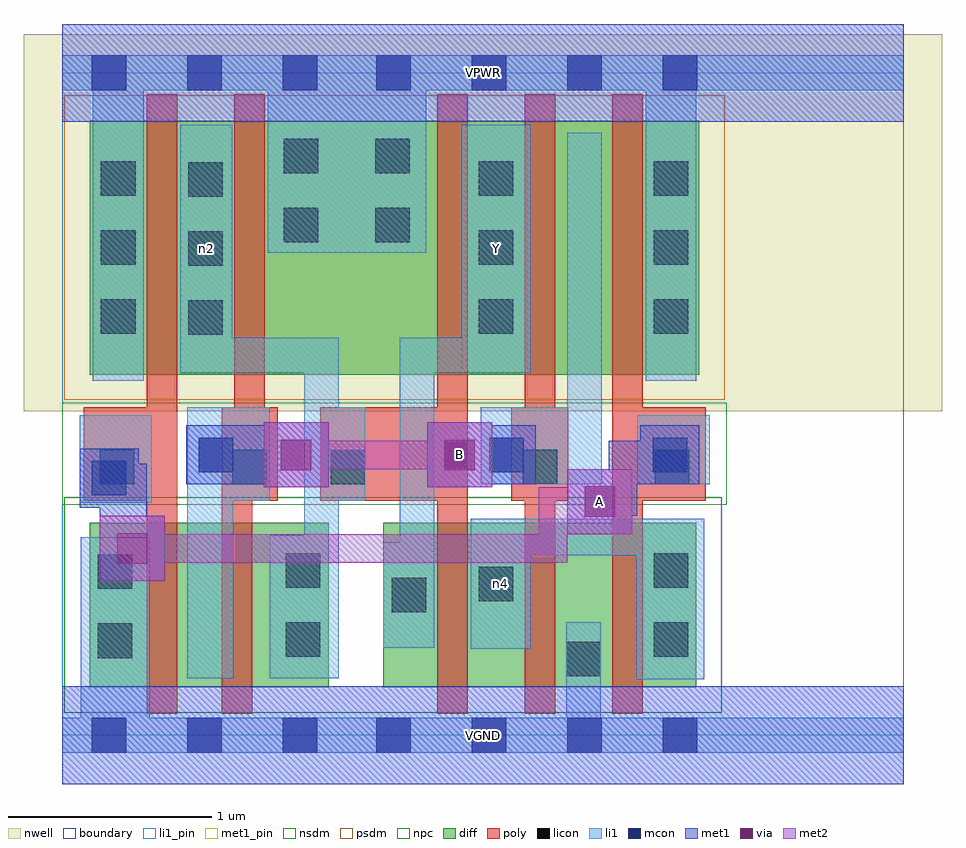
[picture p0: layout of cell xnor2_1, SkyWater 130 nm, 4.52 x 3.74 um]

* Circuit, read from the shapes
.subckt xnor2_1 A B VGND VPWR Y n2 n4
XM1 n1 A VGND VSUBS sky130_fd_pr__nfet_01v8 w=0.81 l=0.15
XM2 n2 B n1 VSUBS sky130_fd_pr__nfet_01v8 w=0.81 l=0.15
XM3 n4 n2 Y VSUBS sky130_fd_pr__nfet_01v8 w=0.81 l=0.15
XM4 VGND B n4 VSUBS sky130_fd_pr__nfet_01v8 w=0.81 l=0.15
XM5 n4 A VGND VSUBS sky130_fd_pr__nfet_01v8 w=0.81 l=0.15
XM6 n2 A VPWR n3 sky130_fd_pr__pfet_01v8 w=1.25 l=0.15
XM7 VPWR B n2 n3 sky130_fd_pr__pfet_01v8 w=1.25 l=0.15
XM8 Y n2 VPWR n3 sky130_fd_pr__pfet_01v8 w=1.25 l=0.15
XM9 n5 B Y n3 sky130_fd_pr__pfet_01v8 w=1.25 l=0.15
XM10 VPWR A n5 n3 sky130_fd_pr__pfet_01v8 w=1.25 l=0.15
.ends

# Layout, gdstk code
import gdstk
lib = gdstk.Library(unit=1e-6, precision=1e-09)
def R(c, l, rs):  # rectangles x0, y0, x1, y1
    for r in rs: c.add(gdstk.rectangle(r[:2], r[2:], *l))
def A(c, l, x, y, w, h, nx, ny, dx, dy):  # array of equal rectangles
    R(c, l, [(x+i*dx, y+j*dy, x+i*dx+w, y+j*dy+h) for i in range(nx) for j in range(ny)])
nwell = (64, 20)
diff = (65, 20)
poly = (66, 20)
licon = (66, 44)
li1_pin = (67, 16)
li1 = (67, 20)
mcon = (67, 44)
met1_pin = (68, 16)
met1 = (68, 20)
via = (68, 44)
met2 = (69, 20)
nsdm = (93, 44)
psdm = (94, 20)
npc = (95, 20)
boundary = (235, 4)

xnor2_1 = lib.new_cell('xnor2_1')
R(xnor2_1, nwell, [(-0.19,1.595,4.33,3.45), (0,1.595,4.14,3.45)])
R(xnor2_1, diff, [(0.135,0.235,1.31,1.045), (1.58,0.235,3.12,1.045), (0.135,1.775,3.135,3.025)])
A(xnor2_1, poly, 1.845, 0.105, 0.15, 3.05, 3, 1, 0.43, 0)
R(xnor2_1, poly, [(0.415,0.105,0.565,3.155), (0.785,0.105,0.935,1.615), (0.105,1.155,0.565,1.615), (0.785,1.155,1.06,1.615), (0.845,1.155,0.995,3.155), (1.27,1.155,1.995,1.615), (2.21,1.155,2.49,1.615), (2.705,1.155,3.165,1.615)])
A(xnor2_1, licon, 0.62, 1.97, 0.17, 0.17, 1, 3, 0, 0.34)
A(xnor2_1, licon, 0.19, 1.975, 0.17, 0.17, 1, 3, 0, 0.34)
A(xnor2_1, licon, 2.05, 1.975, 0.17, 0.17, 1, 3, 0, 0.34)
A(xnor2_1, licon, 2.91, 1.975, 0.17, 0.17, 1, 3, 0, 0.34)
R(xnor2_1, licon, [(2.48,0.29,2.65,0.46), (0.175,0.38,0.345,0.55), (1.1,0.385,1.27,0.555), (2.91,0.385,3.08,0.555), (1.62,0.605,1.79,0.775), (2.05,0.66,2.22,0.83), (0.175,0.72,0.345,0.89), (1.1,0.725,1.27,0.895), (2.91,0.725,3.08,0.895), (0.185,1.235,0.355,1.405), (0.835,1.235,1.005,1.405), (1.32,1.235,1.49,1.405), (2.265,1.235,2.435,1.405), (2.915,1.235,3.085,1.405), (1.09,2.425,1.26,2.595), (1.54,2.425,1.71,2.595), (1.09,2.765,1.26,2.935), (1.54,2.765,1.71,2.935)])
R(xnor2_1, li1_pin, [(1.965,1.785,2.305,3.005)])
R(xnor2_1, li1, [(0,-0.085,4.14,0.085), (0.09,-0.085,0.43,0.975), (2.48,-0.085,2.65,0.555), (2.825,0.275,3.16,1.065), (0.615,0.28,0.84,1.615), (1.02,0.28,1.36,0.985), (1.19,0.28,1.36,1.955), (2.01,0.425,2.305,1.065), (1.58,0.43,1.83,0.95), (1.66,0.43,1.83,1.955), (2.01,0.885,3.16,1.065), (0.085,1.145,0.44,1.575), (0.615,1.155,1.02,1.615), (1.19,1.155,1.49,1.615), (2.06,1.235,2.655,1.615), (2.485,1.235,2.655,2.965), (2.83,1.235,3.185,1.575), (0.15,1.745,0.4,3.345), (2.87,1.745,3.12,3.345), (0.58,1.785,0.835,3.005), (0.58,1.785,1.36,1.955), (1.66,1.785,2.305,1.955), (1.965,1.785,2.305,3.005), (1.01,2.375,1.79,3.345), (0,3.175,4.14,3.345)])
A(xnor2_1, mcon, 0.145, -0.085, 0.17, 0.17, 3, 2, 0.47, 3.26)
A(xnor2_1, mcon, 1.545, -0.085, 0.17, 0.17, 4, 2, 0.47, 3.26)
R(xnor2_1, mcon, [(0.145,1.18,0.315,1.35), (0.67,1.295,0.84,1.465), (2.1,1.295,2.27,1.465), (2.905,1.295,3.075,1.465)])
R(xnor2_1, met1_pin, [(0,-0.24,4.14,0.24), (2.485,0.99,2.805,1.31), (1.795,1.22,2.115,1.54), (0,3.02,4.14,3.5)])
R(xnor2_1, met1, [(0,-0.24,4.14,0.24), (0.185,0.76,0.505,1.08), (0.275,0.85,0.415,1.335), (2.485,0.99,2.805,1.31), (0.185,1.08,0.375,1.12), (0.185,1.08,0.415,1.195), (2.575,1.08,2.83,1.22), (2.69,1.08,2.83,1.45), (0.085,1.12,0.375,1.41), (0.16,1.195,0.415,1.335), (0.99,1.22,1.31,1.54), (1.795,1.22,2.115,1.54), (0.61,1.235,0.9,1.525), (0.9,1.235,0.99,1.525), (2.04,1.235,2.33,1.525), (2.805,1.235,2.845,1.31), (2.83,1.235,2.845,1.45), (2.845,1.235,3.135,1.525), (0.685,1.31,0.99,1.45), (0.85,1.31,1.22,1.45), (1.885,1.31,2.255,1.45), (2.69,1.31,3.06,1.45), (0,3.02,4.14,3.5)])
R(xnor2_1, via, [(0.27,0.845,0.42,0.995), (2.57,1.075,2.72,1.225), (1.075,1.305,1.225,1.455), (1.88,1.305,2.03,1.455)])
R(xnor2_1, met2, [(0.185,0.76,0.505,1.08), (0.275,0.85,2.485,0.99), (2.345,0.85,2.485,1.22), (2.485,0.99,2.805,1.31), (2.345,1.08,2.715,1.22), (0.99,1.22,1.31,1.54), (1.795,1.22,2.115,1.54), (1.08,1.31,2.025,1.45)])
R(xnor2_1, nsdm, [(0.01,0.11,3.245,1.17)])
R(xnor2_1, psdm, [(0.01,1.65,3.26,3.15)])
R(xnor2_1, npc, [(0,1.135,3.27,1.635)])
R(xnor2_1, boundary, [(0,0,4.14,3.26)])
xnor2_1.add(gdstk.Label('Y', (2.135,2.395), layer=67, texttype=5))
xnor2_1.add(gdstk.Label('n4', (2.157,0.745), layer=67, texttype=5))
xnor2_1.add(gdstk.Label('n2', (0.707,2.395), layer=67, texttype=5))
xnor2_1.add(gdstk.Label('B', (1.955,1.38), layer=68, texttype=5))
xnor2_1.add(gdstk.Label('A', (2.645,1.15), layer=68, texttype=5))
xnor2_1.add(gdstk.Label('VPWR', (2.07,3.26), layer=68, texttype=5))
xnor2_1.add(gdstk.Label('VGND', (2.07,0), layer=68, texttype=5))
xnor2_1.add(gdstk.Label('Y', (2.135,2.395), layer=67, texttype=16))
xnor2_1.add(gdstk.Label('B', (1.955,1.38), layer=68, texttype=16))
xnor2_1.add(gdstk.Label('A', (2.645,1.15), layer=68, texttype=16))
xnor2_1.add(gdstk.Label('VPWR', (2.07,3.26), layer=68, texttype=16))
xnor2_1.add(gdstk.Label('VGND', (2.07,0), layer=68, texttype=16))

lib.write_gds('xnor2_1.gds')
